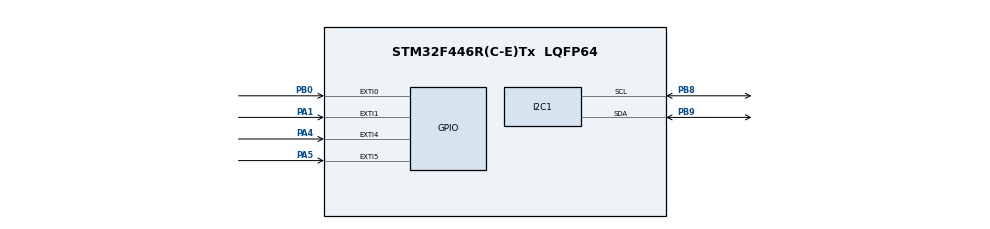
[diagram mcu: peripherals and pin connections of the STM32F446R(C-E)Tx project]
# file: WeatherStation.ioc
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Mcu.Family=STM32F4
Mcu.Name=STM32F446R(C-E)Tx
Mcu.Package=LQFP64
NVIC.EXTI0_IRQn=true\:0\:0\:false\:false\:true\:true\:true\:true
NVIC.EXTI1_IRQn=true\:0\:0\:false\:false\:true\:true\:true\:true
NVIC.EXTI4_IRQn=true\:0\:0\:false\:false\:true\:true\:true\:true
NVIC.EXTI9_5_IRQn=true\:0\:0\:false\:false\:true\:true\:true\:true
NVIC.PriorityGroup=NVIC_PRIORITYGROUP_0
PA1.GPIO_ModeDefaultEXTI=GPIO_MODE_IT_FALLING
PA1.GPIO_PuPd=GPIO_PULLUP
PA1.Signal=GPXTI1
PA13.Mode=Serial_Wire
PA13.Signal=SYS_JTMS-SWDIO
PA14.Mode=Serial_Wire
PA14.Signal=SYS_JTCK-SWCLK
PA4.GPIO_ModeDefaultEXTI=GPIO_MODE_IT_FALLING
PA4.GPIO_PuPd=GPIO_PULLUP
PA4.Signal=GPXTI4
PA5.GPIO_ModeDefaultEXTI=GPIO_MODE_IT_RISING_FALLING
PA5.GPIO_PuPd=GPIO_PULLUP
PA5.Signal=GPXTI5
PB0.GPIO_ModeDefaultEXTI=GPIO_MODE_IT_FALLING
PB0.GPIO_PuPd=GPIO_PULLUP
PB0.Signal=GPXTI0
PB8.Mode=I2C
PB8.Signal=I2C1_SCL
PB9.Mode=I2C
PB9.Signal=I2C1_SDA
ProjectManager.HeapSize=0x200
ProjectManager.StackSize=0x400
ProjectManager.TargetToolchain=STM32CubeIDE
RCC.48MHZClocksFreq_Value=84000000
RCC.AHBFreq_Value=84000000
RCC.APB1CLKDivider=RCC_HCLK_DIV2
RCC.APB1Freq_Value=42000000
RCC.APB1TimFreq_Value=84000000
RCC.APB2Freq_Value=84000000
RCC.APB2TimFreq_Value=84000000
RCC.CortexFreq_Value=84000000
RCC.FLatency-AdvancedSettings=FLASH_LATENCY_2
RCC.HCLKFreq_Value=84000000
RCC.HSE_VALUE=8000000
RCC.HSI_VALUE=16000000
RCC.PLLN=336
RCC.PLLP=RCC_PLLP_DIV4
RCC.SYSCLKFreq_VALUE=84000000
RCC.SYSCLKSource=RCC_SYSCLKSOURCE_PLLCLK
RCC.USBFreq_Value=168000000
RCC.VCOOutputFreq_Value=336000000
VP_RTC_VS_RTC_Activate.Mode=RTC_Enabled
board=NUCLEO-F446RE

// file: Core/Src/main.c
/* USER CODE BEGIN Header */
/**
 ******************************************************************************
 * @file           : main.c
 * @brief          : Main program body
 ******************************************************************************
 * @attention
 *
 * Copyright (c) 2026 STMicroelectronics.
 * All rights reserved.
 *
 * This software is licensed under terms that can be found in the LICENSE file
 * in the root directory of this software component.
 * If no LICENSE file comes with this software, it is provided AS-IS.
 *
 ******************************************************************************
 */
/* USER CODE END Header */
#include "main.h"
#include "stdio.h"
#include "bme280.h"
#include "ssd1306.h"
#include "ssd1306_fonts.h"

/* USER CODE BEGIN PTD */
// Screen types for OLED display
typedef enum {
	SCREEN_TEMP = 0,    // Temperature screen
	SCREEN_HUM,         // Humidity screen
	SCREEN_PRESS,       // Pressure screen
	SCREEN_CLOCK       // Large clock display

} ScreenMode;

// System operating modes
typedef enum {
	MODE_NORMAL = 0,    // Normal display mode
	MODE_SET_TIME       // Time adjustment mode
} SystemMode;

// Editable fields for RTC
typedef enum {
	EDIT_HOUR = 0, EDIT_MIN, EDIT_SEC
} EditField;
/* USER CODE END PTD */

/* USER CODE BEGIN PD */
#define BME280_ADDR (0x76 << 1)   // SDO = GND
#define BME280_REG_ID     0xD0
#define BME280_REG_RESET  0xE0
#define BME280_REG_CTRL_HUM 0xF2
#define BME280_REG_STATUS 0xF3
#define BME280_REG_CTRL_MEAS 0xF4
#define BME280_REG_CONFIG 0xF5
#define BME280_REG_DATA   0xF7
/* USER CODE END PD */

I2C_HandleTypeDef hi2c1;

RTC_HandleTypeDef hrtc;

/* USER CODE BEGIN PV */
extern struct bme280_t bme280;
char buffer[30];
volatile ScreenMode currentScreen = SCREEN_TEMP;
volatile SystemMode currentMode = MODE_NORMAL;

volatile uint8_t btn_next = 0;
volatile uint8_t btn_up = 0;
volatile uint8_t btn_down = 0;

uint32_t lastPressTime_next = 0;
uint32_t lastPressTime_up = 0;
uint32_t lastPressTime_down = 0;
uint32_t lastPressTime_mode = 0;
uint8_t systemOn = 1;
uint32_t nextPressStart = 0;
uint8_t nextPressed = 0;
volatile uint8_t btn_long = 0;
volatile uint8_t btn_power = 0;
volatile EditField currentField = EDIT_HOUR;

RTC_TimeTypeDef sTime;
RTC_DateTypeDef sDate;
/* USER CODE END PV */

void SystemClock_Config(void);
static void MX_GPIO_Init(void);
static void MX_I2C1_Init(void);
static void MX_RTC_Init(void);

/* USER CODE BEGIN 0 */
/*uint8_t BME280_ReadID(void) {
 uint8_t id;
 HAL_I2C_Mem_Read(&hi2c1, BME280_ADDR, BME280_REG_ID, 1, &id, 1, 100);
 return id;
 }*/

/*void BME280_Init(void) {
 uint8_t data;

 // Reset
 data = 0xB6;
 HAL_I2C_Mem_Write(&hi2c1, BME280_ADDR, BME280_REG_RESET, 1, &data, 1, 100);
 HAL_Delay(100);

 // Humidity oversampling x1
 data = 0x01;
 HAL_I2C_Mem_Write(&hi2c1, BME280_ADDR, BME280_REG_CTRL_HUM, 1, &data, 1,
 100);

 // Temp + Pressure oversampling x1, normal mode
 data = 0x27;
 HAL_I2C_Mem_Write(&hi2c1, BME280_ADDR, BME280_REG_CTRL_MEAS, 1, &data, 1,
 100);

 // Standby + filter
 data = 0xA0;
 HAL_I2C_Mem_Write(&hi2c1, BME280_ADDR, BME280_REG_CONFIG, 1, &data, 1, 100);
 }*/

// Reads temperature, pressure and humidity from BME280
void BME280_GetData(float *temp, float *press, float *hum) {

	// Force a new measurement
	bme280_set_power_mode(BME280_FORCED_MODE);
	HAL_Delay(50);

	s32 ut, up, uh;

	// Read raw sensor values
	bme280_read_uncomp_pressure_temperature_humidity(&up, &ut, &uh);

	// Convert raw values to real-world units
	s32 t = bme280_compensate_temperature_int32(ut);
	u32 p = bme280_compensate_pressure_int32(up);
	u32 h = bme280_compensate_humidity_int32(uh);

	*temp = t / 100.0;
	*press = p / 100.0;
	*hum = h / 1024.0;
}

// External interrupt handler for all buttons
void HAL_GPIO_EXTI_Callback(uint16_t GPIO_Pin) {
	uint32_t now = HAL_GetTick();

	// ===== NEXT BUTTON (PA5) =====
	// Detect short press and long press
	if (GPIO_Pin == GPIO_PIN_5) {
		if (HAL_GPIO_ReadPin(GPIOA, GPIO_PIN_5) == GPIO_PIN_RESET) {
			// Button pressed -> start timing
			nextPressStart = HAL_GetTick();
			nextPressed = 1;
		} else {
			// Button released -> calculate press duration
			if (nextPressed) {
				uint32_t pressTime = HAL_GetTick() - nextPressStart;

				if (pressTime > 800)
					btn_long = 1; // Long press -> enter/exit SET TIME
				else
					btn_next = 1; // Short press -> change screen

				nextPressed = 0;
			}
		}
	}

	// ===== UP BUTTON (PA1) =====
	else if (GPIO_Pin == GPIO_PIN_1) {
		if (now - lastPressTime_up > 200
				&& HAL_GPIO_ReadPin(GPIOA, GPIO_PIN_1) == GPIO_PIN_RESET) {
			btn_up = 1; // Increase selected time field
			lastPressTime_up = now;
		}
	}

	// ===== DOWN BUTTON (PB0) =====
	else if (GPIO_Pin == GPIO_PIN_0) {
		if (now - lastPressTime_down > 200
				&& HAL_GPIO_ReadPin(GPIOB, GPIO_PIN_0) == GPIO_PIN_RESET) {
			btn_down = 1; // Decrease selected time field
			lastPressTime_down = now;
		}
	}

	// ===== POWER BUTTON (PA4) =====
	else if (GPIO_Pin == GPIO_PIN_4) {
		if (now - lastPressTime_mode > 200
				&& HAL_GPIO_ReadPin(GPIOA, GPIO_PIN_4) == GPIO_PIN_RESET) {
			btn_power = 1; // Toggle display ON/OFF
			lastPressTime_mode = now;
		}
	}
}
/* USER CODE END 0 */

int main(void) {

	/* MCU Configuration--------------------------------------------------------*/

	/* Reset of all peripherals, Initializes the Flash interface and the Systick. */
	HAL_Init();
	SystemClock_Config();

	MX_GPIO_Init();
	MX_I2C1_Init();
	MX_RTC_Init();

	ssd1306_Init();
	ssd1306_Fill(Black);
	ssd1306_UpdateScreen();

	/* USER CODE BEGIN 2 */

	I2C_routine();          // Bosch I2C
	bme280_init(&bme280);  // calibration load
	bme280_set_power_mode(BME280_NORMAL_MODE);
	float temp, press, hum;

	while (1) {
		ssd1306_Fill(Black);

		// ===== RTC READ =====
		HAL_RTC_GetTime(&hrtc, &sTime, RTC_FORMAT_BIN);
		HAL_RTC_GetDate(&hrtc, &sDate, RTC_FORMAT_BIN);

		// ===== SENSOR READ =====
		BME280_GetData(&temp, &press, &hum);

		// ===== DISPLAY CURRENT TIME =====
		if (currentMode == MODE_NORMAL) {
			ssd1306_SetCursor(0, 0);
			ssd1306_WriteString("Time:", Font_6x8, White);

			sprintf(buffer, "%02d:%02d:%02d", sTime.Hours, sTime.Minutes,
					sTime.Seconds);

			ssd1306_SetCursor(70, 0);
			ssd1306_WriteString(buffer, Font_6x8, White);
		}

		// ===== POWER BUTTON HANDLING =====
		if (btn_power) {
			systemOn = !systemOn;

			// Reinitialize display when turning ON
			if (systemOn)
				ssd1306_Init();

			btn_power = 0;
		}

		// ===== SLEEP MODE =====
		if (!systemOn) {
			ssd1306_Fill(Black);
			ssd1306_UpdateScreen();
			HAL_Delay(100);
			continue;
		}

		// ===== LONG PRESS (ENTER/EXIT SET TIME) =====
		if (btn_long) {
			if (currentMode == MODE_NORMAL) {
				currentMode = MODE_SET_TIME;
				currentField = EDIT_HOUR;
			} else {
				currentMode = MODE_NORMAL;
			}

			btn_long = 0;
		}

		// ===== SHORT PRESS (SCREEN CHANGE / FIELD CHANGE) =====
		if (btn_next) {
			if (currentMode == MODE_NORMAL) {
				currentScreen++;

				if (currentScreen > SCREEN_CLOCK)
					currentScreen = SCREEN_TEMP;
			} else {
				currentField++;

				if (currentField > EDIT_SEC)
					currentField = EDIT_HOUR;
			}

			btn_next = 0;
		}

		// ===== UP =====
		if (btn_up && currentMode == MODE_SET_TIME) {
			if (currentField == EDIT_HOUR) {
				sTime.Hours = (sTime.Hours + 1) % 24;
				sTime.Seconds = 0;
			} else if (currentField == EDIT_MIN) {
				sTime.Minutes = (sTime.Minutes + 1) % 60;
				sTime.Seconds = 0;
			} else
				sTime.Seconds = (sTime.Seconds + 1) % 60;

			HAL_RTC_SetTime(&hrtc, &sTime, RTC_FORMAT_BIN);

			btn_up = 0;
		}

		// ===== DOWN =====
		if (btn_down && currentMode == MODE_SET_TIME) {
			if (currentField == EDIT_HOUR) {
				sTime.Hours = (sTime.Hours == 0) ? 23 : sTime.Hours - 1;
				sTime.Seconds = 0;
			} else if (currentField == EDIT_MIN) {
				sTime.Minutes = (sTime.Minutes == 0) ? 59 : sTime.Minutes - 1;
				sTime.Seconds = 0;
			} else
				sTime.Seconds = (sTime.Seconds == 0) ? 59 : sTime.Seconds - 1;

			HAL_RTC_SetTime(&hrtc, &sTime, RTC_FORMAT_BIN);

			btn_down = 0;
		}

		// Generate simple environmental interpretation
		char *comment;

		if (temp > 30)
			comment = "Hot";
		else if (temp < 10)
			comment = "Cold";
		else if (hum > 80)
			comment = "Rain possible";
		else
			comment = "Normal";

		// ===== DISPLAY MODE =====
		if (currentMode == MODE_NORMAL) {
			switch (currentScreen) {
			case SCREEN_TEMP:
				sprintf(buffer, "Temp: %.1fC", temp);
				ssd1306_SetCursor(0, 25);
				ssd1306_WriteString(buffer, Font_11x18, White);
				break;

			case SCREEN_HUM:
				sprintf(buffer, "Hum: %.0f%%", hum);
				ssd1306_SetCursor(0, 25);
				ssd1306_WriteString(buffer, Font_11x18, White);
				break;

			case SCREEN_PRESS:
				sprintf(buffer, "Press: %.0f hPa", press);
				ssd1306_SetCursor(0, 25);
				ssd1306_WriteString(buffer, Font_7x10, White);
				break;

			case SCREEN_CLOCK:
				sprintf(buffer, "%02d:%02d:%02d", sTime.Hours, sTime.Minutes,
						sTime.Seconds);
				ssd1306_SetCursor(15, 25);
				ssd1306_WriteString(buffer, Font_11x18, White);
			}

			if (currentScreen != SCREEN_CLOCK) {
				ssd1306_SetCursor(0, 54);
				ssd1306_WriteString(comment, Font_6x8, White);
			}
		} else {
			ssd1306_SetCursor(0, 0);
			ssd1306_WriteString("SET TIME", Font_7x10, White);

			uint8_t blink = (HAL_GetTick() / 500) % 2;

			char timeStr[9];
			sprintf(timeStr, "%02d:%02d:%02d", sTime.Hours, sTime.Minutes,
					sTime.Seconds);

			if (blink) {
				if (currentField == EDIT_HOUR) {
					timeStr[0] = ' ';
					timeStr[1] = ' ';
				} else if (currentField == EDIT_MIN) {
					timeStr[3] = ' ';
					timeStr[4] = ' ';
				} else {
					timeStr[6] = ' ';
					timeStr[7] = ' ';
				}
			}

			ssd1306_SetCursor(10, 20);
			ssd1306_WriteString(timeStr, Font_11x18, White);
		}

		ssd1306_UpdateScreen();
		HAL_Delay(50);
	}
	/* USER CODE END 3 */
}

void SystemClock_Config(void) {
RCC_OscInitTypeDef RCC_OscInitStruct = { 0 };
RCC_ClkInitTypeDef RCC_ClkInitStruct = { 0 };

/** Configure the main internal regulator output voltage
 */
__HAL_RCC_PWR_CLK_ENABLE();
__HAL_PWR_VOLTAGESCALING_CONFIG(PWR_REGULATOR_VOLTAGE_SCALE3);

/** Initializes the RCC Oscillators according to the specified parameters
 * in the RCC_OscInitTypeDef structure.
 */
RCC_OscInitStruct.OscillatorType = RCC_OSCILLATORTYPE_HSI
		| RCC_OSCILLATORTYPE_LSI;
RCC_OscInitStruct.LSEState = RCC_LSE_OFF;
RCC_OscInitStruct.HSIState = RCC_HSI_ON;
RCC_OscInitStruct.HSICalibrationValue = RCC_HSICALIBRATION_DEFAULT;
RCC_OscInitStruct.LSIState = RCC_LSI_ON;
RCC_OscInitStruct.PLL.PLLState = RCC_PLL_ON;
RCC_OscInitStruct.PLL.PLLSource = RCC_PLLSOURCE_HSI;
RCC_OscInitStruct.PLL.PLLM = 16;
RCC_OscInitStruct.PLL.PLLN = 336;
RCC_OscInitStruct.PLL.PLLP = RCC_PLLP_DIV4;
RCC_OscInitStruct.PLL.PLLQ = 2;
RCC_OscInitStruct.PLL.PLLR = 2;
if (HAL_RCC_OscConfig(&RCC_OscInitStruct) != HAL_OK) {
	Error_Handler();
}

/** Initializes the CPU, AHB and APB buses clocks
 */
RCC_ClkInitStruct.ClockType = RCC_CLOCKTYPE_HCLK | RCC_CLOCKTYPE_SYSCLK
		| RCC_CLOCKTYPE_PCLK1 | RCC_CLOCKTYPE_PCLK2;
RCC_ClkInitStruct.SYSCLKSource = RCC_SYSCLKSOURCE_PLLCLK;
RCC_ClkInitStruct.AHBCLKDivider = RCC_SYSCLK_DIV1;
RCC_ClkInitStruct.APB1CLKDivider = RCC_HCLK_DIV2;
RCC_ClkInitStruct.APB2CLKDivider = RCC_HCLK_DIV1;

if (HAL_RCC_ClockConfig(&RCC_ClkInitStruct, FLASH_LATENCY_2) != HAL_OK) {
	Error_Handler();
}
}

static void MX_I2C1_Init(void) {

hi2c1.Instance = I2C1;
hi2c1.Init.ClockSpeed = 100000;
hi2c1.Init.DutyCycle = I2C_DUTYCYCLE_2;
hi2c1.Init.OwnAddress1 = 0;
hi2c1.Init.AddressingMode = I2C_ADDRESSINGMODE_7BIT;
hi2c1.Init.DualAddressMode = I2C_DUALADDRESS_DISABLE;
hi2c1.Init.OwnAddress2 = 0;
hi2c1.Init.GeneralCallMode = I2C_GENERALCALL_DISABLE;
hi2c1.Init.NoStretchMode = I2C_NOSTRETCH_DISABLE;
if (HAL_I2C_Init(&hi2c1) != HAL_OK) {
	Error_Handler();
}

}

static void MX_RTC_Init(void) {

/** Initialize RTC Only
 */
hrtc.Instance = RTC;
hrtc.Init.HourFormat = RTC_HOURFORMAT_24;
hrtc.Init.AsynchPrediv = 127;
hrtc.Init.SynchPrediv = 255;
hrtc.Init.OutPut = RTC_OUTPUT_DISABLE;
hrtc.Init.OutPutPolarity = RTC_OUTPUT_POLARITY_HIGH;
hrtc.Init.OutPutType = RTC_OUTPUT_TYPE_OPENDRAIN;
if (HAL_RTC_Init(&hrtc) != HAL_OK) {
	Error_Handler();
}

}

static void MX_GPIO_Init(void) {
GPIO_InitTypeDef GPIO_InitStruct = { 0 };

/* GPIO Ports Clock Enable */
__HAL_RCC_GPIOA_CLK_ENABLE();
__HAL_RCC_GPIOB_CLK_ENABLE();

/*Configure GPIO pins : PA1 PA4 */
GPIO_InitStruct.Pin = GPIO_PIN_1 | GPIO_PIN_4;
GPIO_InitStruct.Mode = GPIO_MODE_IT_FALLING;
GPIO_InitStruct.Pull = GPIO_PULLUP;
HAL_GPIO_Init(GPIOA, &GPIO_InitStruct);

/*Configure GPIO pin : PA5 */
GPIO_InitStruct.Pin = GPIO_PIN_5;
GPIO_InitStruct.Mode = GPIO_MODE_IT_RISING_FALLING;
GPIO_InitStruct.Pull = GPIO_PULLUP;
HAL_GPIO_Init(GPIOA, &GPIO_InitStruct);

/*Configure GPIO pin : PB0 */
GPIO_InitStruct.Pin = GPIO_PIN_0;
GPIO_InitStruct.Mode = GPIO_MODE_IT_FALLING;
GPIO_InitStruct.Pull = GPIO_PULLUP;
HAL_GPIO_Init(GPIOB, &GPIO_InitStruct);

/* EXTI interrupt init*/
HAL_NVIC_SetPriority(EXTI0_IRQn, 0, 0);
HAL_NVIC_EnableIRQ(EXTI0_IRQn);

HAL_NVIC_SetPriority(EXTI1_IRQn, 0, 0);
HAL_NVIC_EnableIRQ(EXTI1_IRQn);

HAL_NVIC_SetPriority(EXTI4_IRQn, 0, 0);
HAL_NVIC_EnableIRQ(EXTI4_IRQn);

HAL_NVIC_SetPriority(EXTI9_5_IRQn, 0, 0);
HAL_NVIC_EnableIRQ(EXTI9_5_IRQn);

}

void Error_Handler(void) {
__disable_irq();
while (1) {
}
}
